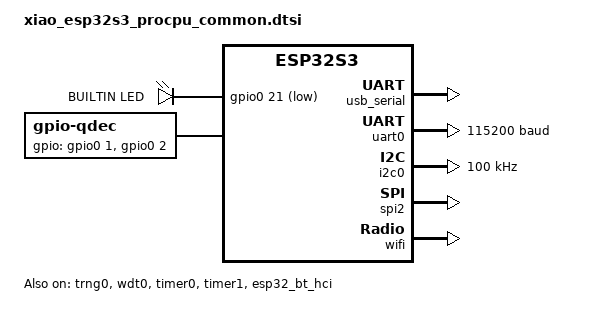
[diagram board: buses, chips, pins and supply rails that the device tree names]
/*
 * Copyright (c) 2023 Seeed Studio inc.
 *
 * SPDX-License-Identifier: Apache-2.0
 */

/dts-v1/;

#include <espressif/esp32s3/esp32s3_wroom_n8r8.dtsi>
#include "xiao_esp32s3-pinctrl.dtsi"
#include "seeed_xiao_connector.dtsi"
#include <zephyr/dt-bindings/input/input-event-codes.h>

/ {
	chosen {
		zephyr,sram = &sram1;
		zephyr,console = &usb_serial;
		zephyr,shell-uart = &usb_serial;
		zephyr,flash = &flash0;
		zephyr,code-partition = &slot0_partition;
		zephyr,bt-hci = &esp32_bt_hci;
	};

	aliases {
		i2c-0 = &i2c0;
		watchdog0 = &wdt0;
		led0 = &led0;
		// sw2 = &user_btn;
		// sw1 = &user_btn1;
		// sw0 = &user_btn2;
	};

	leds {
		compatible = "gpio-leds";

		led0: led_0 {
			gpios = <&gpio0 21 GPIO_ACTIVE_LOW>;
			label = "BUILTIN LED";
		};
	};

	qdec {
		compatible = "gpio-qdec";
		gpios = <&gpio0 1 (GPIO_PULL_UP| GPIO_ACTIVE_HIGH)>,   /* Pin A */
			<&gpio0 2 (GPIO_PULL_UP| GPIO_ACTIVE_HIGH)>;   /* Pin B */
		steps-per-period = <2>;
		sample-time-us = <2000>;
		idle-timeout-ms = <200>;

		zephyr,axis = <INPUT_REL_WHEEL>;
	};

	// gpio_keys {
	// 	compatible = "gpio-keys";

	// 	user_btn: button_d0 {
	// 		label = "SW_0";
	// 		gpios = <&gpio0 1 (GPIO_PULL_UP | GPIO_ACTIVE_LOW)>;
	// 		zephyr,code = <INPUT_KEY_0>;
	// 	};

	// 	user_btn1: button_d1 {
	// 		label = "SW_0";
	// 		gpios = <&gpio0 2 (GPIO_PULL_UP | GPIO_ACTIVE_LOW)>;
	// 		zephyr,code = <INPUT_KEY_1>;
	// 	};

	// 	user_btn2: button_d7 {
	// 		label = "SW_0";
	// 		gpios = <&gpio0 44 (GPIO_PULL_UP | GPIO_ACTIVE_LOW)>;
	// 		zephyr,code = <INPUT_KEY_2>;
	// 	};
	// };
};

&usb_serial {
	status = "okay";
};

&uart0 {
	status = "okay";
	current-speed = <115200>;
	pinctrl-0 = <&uart0_default>;
	pinctrl-names = "default";
};

&i2c0 {
	status = "okay";
	clock-frequency = <I2C_BITRATE_STANDARD>;
	pinctrl-0 = <&i2c0_default>;
	pinctrl-names = "default";
};

&trng0 {
	status = "okay";
};

&spi2 {
	#address-cells = <1>;
	#size-cells = <0>;
	status = "okay";
	pinctrl-0 = <&spim2_default>;
	pinctrl-names = "default";
};

&gpio0 {
	status = "okay";
};

&gpio1 {
	status = "okay";
};

&wdt0 {
	status = "okay";
};

&twai {
	pinctrl-0 = <&twai_default>;
	pinctrl-names = "default";
};

&timer0 {
	status = "okay";
};

&timer1 {
	status = "okay";
};

&esp32_bt_hci {
	status = "okay";
};

&wifi {
	status = "okay";
};
